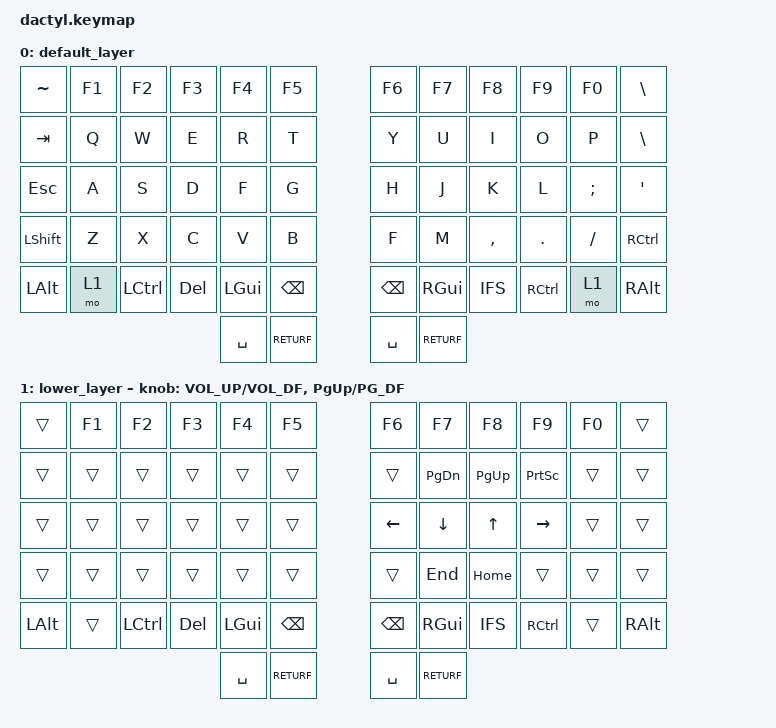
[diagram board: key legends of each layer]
#include <behaviors.dtsi>
#include <dt-bindings/zmk/keys.h>

/ {
    keymap {
        compatible = "zmk,keymap";

        default_layer {
// --------------------------------------------------------------------------------------------------------------------------------------------------------------------
// |   TAB   |    Q    |    W    |    E    |    R    |    T    |                                          |    Y    |    U    |    I    |    O    |    P    |    \    |
// |   ESC   |    A    |    S    |    D    |    F    |    G    |                                          |    H    |    J    |    K    |    L    |    ;    |    '    |
// |  SHIFT  |    Z    |    X    |    C    |    V    |    B    | CTRL+A  | CTRL+C  |  |  CTRL+V |  CTRL+X |    F    |    M    |    ,    |    .    |    /    |  R CTRL |
//                               |   GUI   |   DEL   | RETURF  |  SPACE  | ESCAPE  |  |  RETURF |  SPACE  |   TAB   |   BSPC  |  R ALT  |
            bindings = <
    &kp TILDE  &kp F1   &kp F2   &kp F3    &kp F4    &kp F5               &kp F6    &kp F7    &kp F8    &kp F9    &kp F0   &kp BSLH
    &kp TAB    &kp Q    &kp W    &kp E     &kp R     &kp T                &kp Y     &kp U     &kp I     &kp O     &kp P    &kp BSLH
    &kp ESC    &kp A    &kp S    &kp D     &kp F     &kp G                &kp H     &kp J     &kp K     &kp L     &kp SEMI &kp SQT
    &kp LSHIFT &kp Z    &kp X    &kp C     &kp V     &kp B                &kp F     &kp M     &kp COMMA &kp DOT   &kp FSLH &kp RCTRL
    &kp LALT   &mo 1    &kp LCTRL &kp DEL  &kp LGUI  &kp BSPC             &kp BSPC  &kp RGUI  &kp IFS   &kp RCTRL &mo 1    &kp RALT
                                           &kp SPACE &kp RETURF           &kp SPACE &kp RETURF
            >;
        };
        lower_layer {
            bindings = <
    &trans     &kp F1   &kp F2   &kp F3    &kp F4    &kp F5               &kp F6    &kp F7    &kp F8    &kp F9    &kp F0   &trans
    &trans     &trans   &trans   &trans    &trans    &trans               &trans    &kp PG_DN &kp PG_UP &kp PSCRN &trans   &trans
    &trans     &trans   &trans   &trans    &trans    &trans               &kp LEFT  &kp DOWN  &kp UP    &kp RIGHT &trans   &trans
    &trans     &trans   &trans   &trans    &trans    &trans               &trans    &kp END   &kp HOME    &trans    &trans   &trans
    &kp LALT   &trans   &kp LCTRL &kp DEL  &kp LGUI  &kp BSPC             &kp BSPC  &kp RGUI  &kp IFS   &kp RCTRL &trans   &kp RALT
                                           &kp SPACE &kp RETURF           &kp SPACE &kp RETURF
            >;

            sensor-bindings = <&inc_dec_kp C_VOL_UP C_VOL_DF &inc_dec_kp PG_UP PG_DF>;
        };

    };
};

